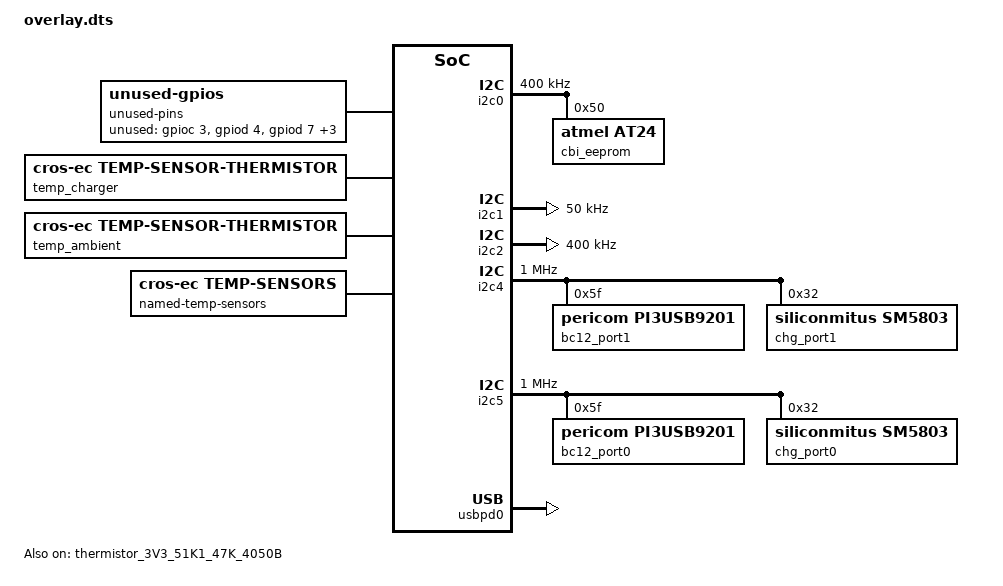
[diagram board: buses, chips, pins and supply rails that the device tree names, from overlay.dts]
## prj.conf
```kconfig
# Copyright 2021 The ChromiumOS Authors
# Use of this source code is governed by a BSD-style license that can be
# found in the LICENSE file.

# EC chip configuration: IT83102
CONFIG_BOARD_NEREID=y
CONFIG_CROS_FLASH_IT8XXX2=y
CONFIG_CROS_SYSTEM_IT8XXX2=y
CONFIG_ESPI_IT8XXX2=y
CONFIG_FPU=y
# rv32iafc/ilp32f is not supported by the toolchain, so use soft-float
CONFIG_FLOAT_HARD=n

# Allow more time for the charger to stabilise
CONFIG_PLATFORM_EC_POWER_BUTTON_INIT_TIMEOUT=5

# RAM savings, since this chip is tight on available RAM.
# It's useful to store a lot of logs for the host to request, but the default 4k
# is pretty large.
CONFIG_PLATFORM_EC_HOSTCMD_CONSOLE_BUF_SIZE=2048
# Our threads have short names, save 20 bytes per thread
CONFIG_THREAD_MAX_NAME_LEN=12
# Task stacks, tuned by experiment. Most expanded to prevent overflow, and a few
# shrunk to save RAM.
CONFIG_AP_PWRSEQ_STACK_SIZE=1408
CONFIG_TASK_HOSTCMD_STACK_SIZE=1280
CONFIG_TASK_MOTIONSENSE_STACK_SIZE=1280
CONFIG_TASK_PD_INT_STACK_SIZE=1280

# Ensure recovery key combination (esc+refresh+power) is reliable: b/236580049
CONFIG_PLATFORM_EC_KEYBOARD_PWRBTN_ASSERTS_KSI2=y

# Sensor drivers
CONFIG_PLATFORM_EC_ACCELGYRO_BMI_COMM_I2C=y
CONFIG_PLATFORM_EC_ACCELGYRO_BMI3XX=y
CONFIG_PLATFORM_EC_ACCEL_BMA4XX=y
CONFIG_PLATFORM_EC_MAX_SENSOR_FREQ_MILLIHZ=100000

# TCPC+PPC: ITE on-chip for C0, PS8745 for optional C1
CONFIG_PLATFORM_EC_USB_PD_TCPM_ITE_ON_CHIP=y
CONFIG_PLATFORM_EC_USB_PD_TCPM_DRIVER_IT8XXX2=y
CONFIG_PLATFORM_EC_USB_PD_TCPM_PS8745=y
CONFIG_PLATFORM_EC_USB_PD_VBUS_DETECT_CHARGER=y
# SM5803 controls power path on both ports
CONFIG_PLATFORM_EC_USB_PD_5V_CHARGER_CTRL=y
# SM5803 can discharge VBUS, but not via one of the available options;
# pd_power_supply_reset() does discharge.
CONFIG_PLATFORM_EC_USB_PD_DISCHARGE=n
# The EC is put into programming mode while firmware is running
# (after releasing reset) and PD after being reset will hard-reset
# the port if a contract was already set up. If the system has no
# battery, this will prevent programming because it will brown out
# the system and reset. Inserting a delay gives the programmer more
# time to put the EC into programming mode.
CONFIG_PLATFORM_EC_USB_PD_STARTUP_DELAY_MS=2000

# Charger driver and configuration
CONFIG_PLATFORM_EC_OCPC=y
CONFIG_PLATFORM_EC_CHARGER_SM5803=y
CONFIG_PLATFORM_EC_OCPC_DEF_RBATT_MOHMS=21
CONFIG_PLATFORM_EC_PD_MAX_VOLTAGE_MV=15000

# VSENSE: PP3300_S5 & PP1050_PROC
CONFIG_VCMP_IT8XXX2=y
CONFIG_SENSOR=y
CONFIG_SENSOR_SHELL=n
CONFIG_TACH_IT8XXX2=n
```

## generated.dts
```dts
/* Copyright 2022 The Chromium OS Authors. All rights reserved.
 * Use of this source code is governed by a BSD-style license that can be
 * found in the LICENSE file.
 *
 * This file is auto-generated - do not edit!
 */

/ {

	named-adc-channels {
		compatible = "named-adc-channels";

		adc_ec_vsense_pp1050_proc: ec_vsense_pp1050_proc {
			enum-name = "ADC_PP1050_PROC";
			io-channels = <&adc0 14>;
		};
		adc_ec_vsense_pp3300_s5: ec_vsense_pp3300_s5 {
			enum-name = "ADC_PP3300_S5";
			io-channels = <&adc0 0>;
		};
		adc_temp_sensor_1: temp_sensor_1 {
			enum-name = "ADC_TEMP_SENSOR_1";
			io-channels = <&adc0 2>;
		};
		adc_temp_sensor_2: temp_sensor_2 {
			enum-name = "ADC_TEMP_SENSOR_2";
			io-channels = <&adc0 3>;
		};
		adc_temp_sensor_3: temp_sensor_3 {
			enum-name = "ADC_TEMP_SENSOR_3";
			io-channels = <&adc0 13>;
		};
	};

	named-gpios {
		compatible = "named-gpios";

		gpio_acc_int_l: acc_int_l {
			gpios = <&gpioc 0 GPIO_INPUT>;
		};
		gpio_all_sys_pwrgd: all_sys_pwrgd {
			gpios = <&gpiob 7 GPIO_INPUT>;
		};
		gpio_ccd_mode_odl: ccd_mode_odl {
			gpios = <&gpioh 5 GPIO_INPUT>;
			enum-name = "GPIO_CCD_MODE_ODL";
		};
		gpio_cpu_c10_gate_l: cpu_c10_gate_l {
			gpios = <&gpiog 1 GPIO_INPUT>;
		};
		gpio_ec_battery_pres_odl: ec_battery_pres_odl {
			gpios = <&gpioi 4 GPIO_INPUT>;
			enum-name = "GPIO_BATT_PRES_ODL";
		};
		gpio_ec_cbi_wp: ec_cbi_wp {
			gpios = <&gpioj 5 GPIO_OUTPUT>;
		};
		gpio_ec_edp_bl_en_od: ec_edp_bl_en_od {
			gpios = <&gpiok 4 GPIO_ODR_HIGH>;
			enum-name = "GPIO_ENABLE_BACKLIGHT";
		};
		gpio_ec_entering_rw: ec_entering_rw {
			gpios = <&gpioc 7 GPIO_OUTPUT>;
			enum-name = "GPIO_ENTERING_RW";
		};
		gpio_ec_gsc_packet_mode: ec_gsc_packet_mode {
			gpios = <&gpioh 1 GPIO_OUTPUT>;
			enum-name = "GPIO_PACKET_MODE_EN";
		};
		gpio_ec_pch_wake_odl: ec_pch_wake_odl {
			gpios = <&gpiob 2 GPIO_ODR_LOW>;
		};
		gpio_ec_prochot_odl: ec_prochot_odl {
			gpios = <&gpioi 1 GPIO_ODR_HIGH>;
		};
		gpio_ec_soc_dsw_pwrok: ec_soc_dsw_pwrok {
			gpios = <&gpiol 7 GPIO_OUTPUT>;
		};
		gpio_ec_soc_hdmi_hpd: ec_soc_hdmi_hpd {
			gpios = <&gpiok 7 GPIO_OUTPUT>;
		};
		gpio_ec_soc_int_odl: ec_soc_int_odl {
			gpios = <&gpiod 5 GPIO_ODR_HIGH>;
			enum-name = "GPIO_EC_INT_L";
		};
		gpio_ec_soc_pch_pwrok_od: ec_soc_pch_pwrok_od {
			gpios = <&gpiod 6 GPIO_ODR_HIGH>;
		};
		gpio_ec_soc_pwr_btn_odl: ec_soc_pwr_btn_odl {
			gpios = <&gpiob 6 GPIO_ODR_HIGH>;
			enum-name = "GPIO_PCH_PWRBTN_L";
		};
		gpio_ec_soc_rsmrst_l: ec_soc_rsmrst_l {
			gpios = <&gpioh 0 GPIO_OUTPUT>;
		};
		gpio_ec_soc_rtcrst: ec_soc_rtcrst {
			gpios = <&gpiok 2 GPIO_OUTPUT>;
		};
		gpio_ec_soc_sys_pwrok: ec_soc_sys_pwrok {
			gpios = <&gpiof 2 GPIO_OUTPUT>;
		};
		gpio_ec_soc_vccst_pwrgd_od: ec_soc_vccst_pwrgd_od {
			gpios = <&gpioe 5 GPIO_ODR_HIGH>;
		};
		gpio_ec_wp_odl: ec_wp_odl {
			gpios = <&gpioa 6 (GPIO_INPUT | GPIO_ACTIVE_LOW)>;
		};
		gpio_en_kb_bl: en_kb_bl {
			gpios = <&gpioj 3 GPIO_OUTPUT>;
			enum-name = "GPIO_EN_KEYBOARD_BACKLIGHT";
		};
		gpio_en_pp3300_s5: en_pp3300_s5 {
			gpios = <&gpioc 5 GPIO_OUTPUT>;
			enum-name = "GPIO_TEMP_SENSOR_POWER";
		};
		gpio_en_pp5000_pen_x: en_pp5000_pen_x {
			gpios = <&gpiob 5 GPIO_OUTPUT>;
		};
		gpio_en_pp5000_s5: en_pp5000_s5 {
			gpios = <&gpiok 5 GPIO_OUTPUT>;
		};
		gpio_en_slp_z: en_slp_z {
			gpios = <&gpiok 3 GPIO_OUTPUT>;
		};
		gpio_en_usb_a0_vbus: en_usb_a0_vbus {
			gpios = <&gpiol 6 GPIO_OUTPUT>;
		};
		gpio_en_usb_c0_cc1_vconn: en_usb_c0_cc1_vconn {
			gpios = <&gpioh 4 GPIO_OUTPUT>;
		};
		gpio_en_usb_c0_cc2_vconn: en_usb_c0_cc2_vconn {
			gpios = <&gpioh 6 GPIO_OUTPUT>;
		};
		gpio_gsc_ec_pwr_btn_odl: gsc_ec_pwr_btn_odl {
			gpios = <&gpioe 2 GPIO_INPUT_PULL_UP>;
			enum-name = "GPIO_POWER_BUTTON_L";
		};
		gpio_hdmi_sel: hdmi_sel {
			gpios = <&gpioc 6 GPIO_OUTPUT>;
		};
		gpio_imu_int_l: imu_int_l {
			gpios = <&gpioj 0 GPIO_INPUT>;
		};
		gpio_imvp91_vrrdy_od: imvp91_vrrdy_od {
			gpios = <&gpioj 4 GPIO_INPUT>;
		};
		gpio_lid_open: lid_open {
			gpios = <&gpiof 3 GPIO_INPUT>;
			enum-name = "GPIO_LID_OPEN";
		};
		gpio_pen_detect_odl: pen_detect_odl {
			gpios = <&gpioj 1 GPIO_INPUT_PULL_UP>;
		};
		gpio_pg_pp1050_mem_s3_od: pg_pp1050_mem_s3_od {
			gpios = <&gpiod 3 GPIO_INPUT>;
		};
		gpio_pg_pp5000_s5_od: pg_pp5000_s5_od {
			gpios = <&gpioe 3 GPIO_INPUT>;
		};
		gpio_rsmrst_pwrgd_l: rsmrst_pwrgd_l {
			gpios = <&gpioe 1 GPIO_INPUT_PULL_UP>;
		};
		gpio_slp_s0_l: slp_s0_l {
			gpios = <&gpioe 4 GPIO_INPUT>;
		};
		gpio_slp_s3_l: slp_s3_l {
			gpios = <&gpioh 3 GPIO_INPUT>;
		};
		gpio_slp_s4_l: slp_s4_l {
			gpios = <&gpioi 5 GPIO_INPUT>;
		};
		gpio_slp_sus_l: slp_sus_l {
			gpios = <&gpiog 2 GPIO_INPUT>;
		};
		gpio_sub_usb_a1_ilimit_sdp: sub_usb_a1_ilimit_sdp {
			gpios = <&gpiof 1 GPIO_OUTPUT>;
			enum-name = "GPIO_USB2_ILIM_SEL";
		};
		gpio_sys_rst_odl: sys_rst_odl {
			gpios = <&gpiod 1 GPIO_ODR_HIGH>;
		};
		gpio_tablet_mode_l: tablet_mode_l {
			gpios = <&gpioa 7 GPIO_INPUT>;
			enum-name = "GPIO_TABLET_MODE_L";
		};
		gpio_usb_a0_ilimit_sdp: usb_a0_ilimit_sdp {
			gpios = <&gpiol 5 GPIO_OUTPUT>;
			enum-name = "GPIO_USB1_ILIM_SEL";
		};
		gpio_usb_c0_frs: usb_c0_frs {
			gpios = <&gpioc 4 GPIO_OUTPUT>;
		};
		gpio_usb_c0_int_odl: usb_c0_int_odl {
			gpios = <&gpiok 0 GPIO_INPUT_PULL_UP>;
		};
		gpio_vccin_aux_vid0: vccin_aux_vid0 {
			gpios = <&gpiod 0 GPIO_INPUT>;
		};
		gpio_vccin_aux_vid1: vccin_aux_vid1 {
			gpios = <&gpiok 1 GPIO_INPUT>;
		};
		gpio_voldn_btn_odl: voldn_btn_odl {
			gpios = <&gpioi 6 GPIO_INPUT_PULL_UP>;
			enum-name = "GPIO_VOLUME_DOWN_L";
		};
		gpio_volup_btn_odl: volup_btn_odl {
			gpios = <&gpioi 7 GPIO_INPUT_PULL_UP>;
			enum-name = "GPIO_VOLUME_UP_L";
		};
	};

	named-i2c-ports {
		compatible = "named-i2c-ports";

		i2c_ec_i2c_eeprom: ec_i2c_eeprom {
			i2c-port = <&i2c0>;
			enum-names = "I2C_PORT_EEPROM";
		};
		i2c_ec_i2c_batt: ec_i2c_batt {
			i2c-port = <&i2c1>;
			enum-names = "I2C_PORT_BATTERY";
		};
		i2c_ec_i2c_sensor: ec_i2c_sensor {
			i2c-port = <&i2c2>;
			enum-names = "I2C_PORT_SENSOR";
		};
		i2c_ec_i2c_sub_usb_c1: ec_i2c_sub_usb_c1 {
			i2c-port = <&i2c4>;
			enum-names = "I2C_PORT_USB_C1_TCPC";
		};
		i2c_ec_i2c_usb_c0: ec_i2c_usb_c0 {
			i2c-port = <&i2c5>;
			enum-names = "I2C_PORT_USB_C0_TCPC";
		};
	};
};

&adc0 {
	status = "okay";
};

&i2c0 {
	status = "okay";
};

&i2c1 {
	status = "okay";
};

&i2c2 {
	status = "okay";
};

&i2c4 {
	status = "okay";
};

&i2c5 {
	status = "okay";
};
```

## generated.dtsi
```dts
/* Copyright 2022 The ChromiumOS Authors
 * Use of this source code is governed by a BSD-style license that can be
 * found in the LICENSE file.
 *
 * This file is auto-generated - do not edit!
 */

/ {

	named-adc-channels {
		compatible = "named-adc-channels";

		adc_ec_vsense_pp1050_proc: ec_vsense_pp1050_proc {
			enum-name = "ADC_PP1050_PROC";
			io-channels = <&adc0 14>;
		};
		adc_ec_vsense_pp3300_s5: ec_vsense_pp3300_s5 {
			enum-name = "ADC_PP3300_S5";
			io-channels = <&adc0 0>;
		};
		adc_temp_sensor_1: temp_sensor_1 {
			enum-name = "ADC_TEMP_SENSOR_1";
			io-channels = <&adc0 2>;
		};
		adc_temp_sensor_2: temp_sensor_2 {
			enum-name = "ADC_TEMP_SENSOR_2";
			io-channels = <&adc0 3>;
		};
		adc_temp_sensor_3: temp_sensor_3 {
			enum-name = "ADC_TEMP_SENSOR_3";
			io-channels = <&adc0 13>;
		};
	};

	named-gpios {
		compatible = "named-gpios";

		gpio_acc_int_l: acc_int_l {
			gpios = <&gpioc 0 GPIO_INPUT>;
		};
		gpio_all_sys_pwrgd: all_sys_pwrgd {
			gpios = <&gpiob 7 GPIO_INPUT>;
		};
		gpio_ccd_mode_odl: ccd_mode_odl {
			gpios = <&gpioh 5 GPIO_INPUT>;
			enum-name = "GPIO_CCD_MODE_ODL";
		};
		gpio_cpu_c10_gate_l: cpu_c10_gate_l {
			gpios = <&gpiog 1 GPIO_INPUT>;
		};
		gpio_ec_battery_pres_odl: ec_battery_pres_odl {
			gpios = <&gpioi 4 GPIO_INPUT>;
			enum-name = "GPIO_BATT_PRES_ODL";
		};
		gpio_ec_cbi_wp: ec_cbi_wp {
			gpios = <&gpioj 5 GPIO_OUTPUT>;
		};
		gpio_ec_edp_bl_en_od: ec_edp_bl_en_od {
			gpios = <&gpiok 4 GPIO_ODR_HIGH>;
			enum-name = "GPIO_ENABLE_BACKLIGHT";
		};
		gpio_ec_entering_rw: ec_entering_rw {
			gpios = <&gpioc 7 GPIO_OUTPUT>;
			enum-name = "GPIO_ENTERING_RW";
		};
		gpio_ec_gsc_packet_mode: ec_gsc_packet_mode {
			gpios = <&gpioh 1 GPIO_OUTPUT>;
			enum-name = "GPIO_PACKET_MODE_EN";
		};
		gpio_ec_pch_wake_odl: ec_pch_wake_odl {
			gpios = <&gpiob 2 GPIO_ODR_LOW>;
		};
		gpio_ec_prochot_odl: ec_prochot_odl {
			gpios = <&gpioi 1 GPIO_ODR_HIGH>;
		};
		gpio_ec_soc_dsw_pwrok: ec_soc_dsw_pwrok {
			gpios = <&gpiol 7 GPIO_OUTPUT>;
		};
		gpio_ec_soc_hdmi_hpd: ec_soc_hdmi_hpd {
			gpios = <&gpiok 7 GPIO_OUTPUT>;
		};
		gpio_ec_soc_int_odl: ec_soc_int_odl {
			gpios = <&gpiod 5 GPIO_ODR_HIGH>;
			enum-name = "GPIO_EC_INT_L";
		};
		gpio_ec_soc_pch_pwrok_od: ec_soc_pch_pwrok_od {
			gpios = <&gpiod 6 GPIO_ODR_HIGH>;
		};
		gpio_ec_soc_pwr_btn_odl: ec_soc_pwr_btn_odl {
			gpios = <&gpiob 6 GPIO_ODR_HIGH>;
			enum-name = "GPIO_PCH_PWRBTN_L";
		};
		gpio_ec_soc_rsmrst_l: ec_soc_rsmrst_l {
			gpios = <&gpioh 0 GPIO_OUTPUT>;
		};
		gpio_ec_soc_rtcrst: ec_soc_rtcrst {
			gpios = <&gpiok 2 GPIO_OUTPUT>;
		};
		gpio_ec_soc_sys_pwrok: ec_soc_sys_pwrok {
			gpios = <&gpiof 2 GPIO_OUTPUT>;
		};
		gpio_ec_soc_vccst_pwrgd_od: ec_soc_vccst_pwrgd_od {
			gpios = <&gpioe 5 GPIO_ODR_HIGH>;
		};
		gpio_ec_wp_odl: ec_wp_odl {
			gpios = <&gpioa 6 (GPIO_INPUT | GPIO_ACTIVE_LOW)>;
		};
		gpio_en_kb_bl: en_kb_bl {
			gpios = <&gpioj 3 GPIO_OUTPUT>;
			enum-name = "GPIO_EN_KEYBOARD_BACKLIGHT";
		};
		gpio_en_pp3300_s5: en_pp3300_s5 {
			gpios = <&gpioc 5 GPIO_OUTPUT>;
			enum-name = "GPIO_TEMP_SENSOR_POWER";
		};
		gpio_en_pp5000_pen_x: en_pp5000_pen_x {
			gpios = <&gpiob 5 GPIO_OUTPUT>;
		};
		gpio_en_pp5000_s5: en_pp5000_s5 {
			gpios = <&gpiok 5 GPIO_OUTPUT>;
		};
		gpio_en_slp_z: en_slp_z {
			gpios = <&gpiok 3 GPIO_OUTPUT>;
		};
		gpio_en_usb_a0_vbus: en_usb_a0_vbus {
			gpios = <&gpiol 6 GPIO_OUTPUT>;
		};
		gpio_en_usb_c0_cc1_vconn: en_usb_c0_cc1_vconn {
			gpios = <&gpioh 4 GPIO_OUTPUT>;
		};
		gpio_en_usb_c0_cc2_vconn: en_usb_c0_cc2_vconn {
			gpios = <&gpioh 6 GPIO_OUTPUT>;
		};
		gpio_gsc_ec_pwr_btn_odl: gsc_ec_pwr_btn_odl {
			gpios = <&gpioe 2 GPIO_INPUT_PULL_UP>;
			enum-name = "GPIO_POWER_BUTTON_L";
		};
		gpio_hdmi_sel: hdmi_sel {
			gpios = <&gpioc 6 GPIO_OUTPUT>;
		};
		gpio_imu_int_l: imu_int_l {
			gpios = <&gpioj 0 GPIO_INPUT>;
		};
		gpio_imvp91_vrrdy_od: imvp91_vrrdy_od {
			gpios = <&gpioj 4 GPIO_INPUT>;
		};
		gpio_lid_open: lid_open {
			gpios = <&gpiof 3 GPIO_INPUT>;
			enum-name = "GPIO_LID_OPEN";
		};
		gpio_pen_detect_odl: pen_detect_odl {
			gpios = <&gpioj 1 GPIO_INPUT_PULL_UP>;
		};
		gpio_pg_pp1050_mem_s3_od: pg_pp1050_mem_s3_od {
			gpios = <&gpiod 3 GPIO_INPUT>;
		};
		gpio_pg_pp5000_s5_od: pg_pp5000_s5_od {
			gpios = <&gpioe 3 GPIO_INPUT>;
		};
		gpio_rsmrst_pwrgd_l: rsmrst_pwrgd_l {
			gpios = <&gpioe 1 GPIO_INPUT_PULL_UP>;
		};
		gpio_slp_s0_l: slp_s0_l {
			gpios = <&gpioe 4 GPIO_INPUT>;
		};
		gpio_slp_s3_l: slp_s3_l {
			gpios = <&gpioh 3 GPIO_INPUT>;
		};
		gpio_slp_s4_l: slp_s4_l {
			gpios = <&gpioi 5 GPIO_INPUT>;
		};
		gpio_slp_sus_l: slp_sus_l {
			gpios = <&gpiog 2 GPIO_INPUT>;
		};
		gpio_sub_usb_a1_ilimit_sdp: sub_usb_a1_ilimit_sdp {
			gpios = <&gpiof 1 GPIO_OUTPUT>;
			enum-name = "GPIO_USB2_ILIM_SEL";
		};
		gpio_sys_rst_odl: sys_rst_odl {
			gpios = <&gpiod 1 GPIO_ODR_HIGH>;
		};
		gpio_tablet_mode_l: tablet_mode_l {
			gpios = <&gpioa 7 GPIO_INPUT>;
			enum-name = "GPIO_TABLET_MODE_L";
		};
		gpio_usb_a0_ilimit_sdp: usb_a0_ilimit_sdp {
			gpios = <&gpiol 5 GPIO_OUTPUT>;
			enum-name = "GPIO_USB1_ILIM_SEL";
		};
		gpio_usb_c0_frs: usb_c0_frs {
			gpios = <&gpioc 4 GPIO_OUTPUT>;
		};
		gpio_usb_c0_int_odl: usb_c0_int_odl {
			gpios = <&gpiok 0 GPIO_INPUT_PULL_UP>;
		};
		gpio_vccin_aux_vid0: vccin_aux_vid0 {
			gpios = <&gpiod 0 GPIO_INPUT>;
		};
		gpio_vccin_aux_vid1: vccin_aux_vid1 {
			gpios = <&gpiok 1 GPIO_INPUT>;
		};
		gpio_voldn_btn_odl: voldn_btn_odl {
			gpios = <&gpioi 6 GPIO_INPUT_PULL_UP>;
			enum-name = "GPIO_VOLUME_DOWN_L";
		};
		gpio_volup_btn_odl: volup_btn_odl {
			gpios = <&gpioi 7 GPIO_INPUT_PULL_UP>;
			enum-name = "GPIO_VOLUME_UP_L";
		};
	};

	named-i2c-ports {
		compatible = "named-i2c-ports";

		i2c_ec_i2c_eeprom: ec_i2c_eeprom {
			i2c-port = <&i2c0>;
			enum-names = "I2C_PORT_EEPROM";
		};
		i2c_ec_i2c_batt: ec_i2c_batt {
			i2c-port = <&i2c1>;
			enum-names = "I2C_PORT_BATTERY";
		};
		i2c_ec_i2c_sensor: ec_i2c_sensor {
			i2c-port = <&i2c2>;
			enum-names = "I2C_PORT_SENSOR";
		};
		i2c_ec_i2c_sub_usb_c1: ec_i2c_sub_usb_c1 {
			i2c-port = <&i2c4>;
			enum-names = "I2C_PORT_USB_C1_TCPC";
		};
		i2c_ec_i2c_usb_c0: ec_i2c_usb_c0 {
			i2c-port = <&i2c5>;
			enum-names = "I2C_PORT_USB_C0_TCPC";
		};
	};
};

&adc0 {
	status = "okay";
};

&i2c0 {
	status = "okay";
};

&i2c1 {
	status = "okay";
};

&i2c2 {
	status = "okay";
};

&i2c4 {
	status = "okay";
};

&i2c5 {
	status = "okay";
};
```

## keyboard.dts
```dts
/* Copyright 2022 The ChromiumOS Authors
 * Use of this source code is governed by a BSD-style license that can be
 * found in the LICENSE file.
 */

/ {
	kblight {
		compatible = "cros-ec,kblight-pwm";
		pwms = <&pwm0 0 PWM_KHZ(10) PWM_POLARITY_NORMAL>;
	};
};

&pwm0 {
	status = "okay";
	prescaler-cx = <PWM_PRESCALER_C4>;
	pinctrl-0 = <&pwm0_gpa0_default>;
	pinctrl-names = "default";
};
```

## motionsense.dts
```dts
/* Copyright 2022 The ChromiumOS Authors
 * Use of this source code is governed by a BSD-style license that can be
 * found in the LICENSE file.
 */

#include <dt-bindings/motionsense/utils.h>


/ {
	aliases {
		/*
		 * Interrupt bindings for sensor devices.
		 */
		bmi3xx-int = &base_accel;
	};

	/*
	 * Declare mutexes used by sensor drivers.
	 * A mutex node is used to create an instance of mutex_t.
	 * A mutex node is referenced by a sensor node if the
	 * corresponding sensor driver needs to use the
	 * instance of the mutex.
	 */
	motionsense-mutex {
		compatible = "cros-ec,motionsense-mutex";
		lid_mutex: lid-mutex {
		};

		base_mutex: base-mutex {
		};
	};

	/* Rotation matrix used by drivers. */
	motionsense-rotation-ref {
		compatible = "cros-ec,motionsense-rotation-ref";
		lid_rot_ref: lid-rotation-ref {
			mat33 = <0 (-1) 0
				 (-1) 0 0
				 0 0 (-1)>;
		};

		base_rot_ref: base-rotation-ref {
			mat33 = <0 1 0
				 (-1) 0 0
				 0 0 1>;
		};
	};

	/*
	 * Driver specific data. A driver-specific data can be shared with
	 * different motion sensors while they are using the same driver.
	 *
	 * If a node's compatible starts with "cros-ec,accelgyro-", it is for
	 * a common structure defined in accelgyro.h.
	 * e.g) compatible = "cros-ec,accelgyro-als-drv-data" is for
	 * "struct als_drv_data_t" in accelgyro.h
	 */
	motionsense-sensor-data {
		bmi323_data: bmi323-drv-data {
			compatible = "cros-ec,drvdata-bmi3xx";
			status = "okay";
		};

		bma422_data: bma422-drv-data {
			compatible = "cros-ec,drvdata-bma4xx";
			status = "okay";
		};
	};

	/*
	 * List of motion sensors that creates motion_sensors array.
	 * The nodelabel "lid_accel" and "base_accel" are used to indicate
	 * motion sensor IDs for lid angle calculation.
	 * TODO(b/238139272): The first entries of the array must be
	 * accelerometers,then gyroscope. Fix this dependency in the DTS
	 * processing which makes the devicetree entries independent.
	 */
	motionsense-sensor {
		lid_accel: lid-accel {
			compatible = "cros-ec,bma4xx";
			status = "okay";

			active-mask = "SENSOR_ACTIVE_S0_S3";
			location = "MOTIONSENSE_LOC_LID";
			mutex = <&lid_mutex>;
			port = <&i2c_ec_i2c_sensor>;
			rot-standard-ref = <&lid_rot_ref>;
			default-range = <2>;
			drv-data = <&bma422_data>;
			configs {
				compatible =
					"cros-ec,motionsense-sensor-config";
				ec-s0 {
					odr = <(10000 | ROUND_UP_FLAG)>;
				};
				ec-s3 {
					odr = <(10000 | ROUND_UP_FLAG)>;
				};
			};
		};

		base_accel: base-accel {
			compatible = "cros-ec,bmi3xx-accel";
			status = "okay";

			active-mask = "SENSOR_ACTIVE_S0_S3";
			location = "MOTIONSENSE_LOC_BASE";
			mutex = <&base_mutex>;
			port = <&i2c_ec_i2c_sensor>;
			rot-standard-ref = <&base_rot_ref>;
			drv-data = <&bmi323_data>;
			configs {
				compatible =
					"cros-ec,motionsense-sensor-config";
				ec-s0 {
					odr = <(10000 | ROUND_UP_FLAG)>;
				};
				ec-s3 {
					odr = <(10000 | ROUND_UP_FLAG)>;
				};
			};
		};

		base_gyro: base-gyro {
			compatible = "cros-ec,bmi3xx-gyro";
			status = "okay";

			active-mask = "SENSOR_ACTIVE_S0_S3";
			location = "MOTIONSENSE_LOC_BASE";
			mutex = <&base_mutex>;
			port = <&i2c_ec_i2c_sensor>;
			rot-standard-ref = <&base_rot_ref>;
			drv-data = <&bmi323_data>;
		};
	};

	motionsense-sensor-info {
		compatible = "cros-ec,motionsense-sensor-info";

		/*
		 * list of GPIO interrupts that have to
		 * be enabled at initial stage
		 */
		sensor-irqs = <&int_imu>;
		/* list of sensors in force mode */
		accel-force-mode-sensors = <&lid_accel>;
	};
};
```

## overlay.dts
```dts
/* Copyright 2021 The ChromiumOS Authors
 * Use of this source code is governed by a BSD-style license that can be
 * found in the LICENSE file.
 */

#include <cros/thermistor/thermistor.dtsi>

/ {
	aliases {
		gpio-cbi-wp = &gpio_ec_cbi_wp;
		gpio-wp = &gpio_ec_wp_odl;
		int-wp = &int_wp_l;
		/*
		 * USB-C: interrupt input.
		 * I2C pins are on i2c_ec_i2c_sub_usb_c1
		 */
		gpio-usb-c1-int-odl = &gpio_sb_1;
		/*
		 * USB-A: VBUS enable output
		 * LTE: power enable output
		 */
		gpio-en-usb-a1-vbus = &gpio_sb_2;
		/*
		 * HDMI: power enable output, HDMI enable output,
		 * and HPD input
		 */
		gpio-en-rails-odl = &gpio_sb_1;
		gpio-hdmi-en-odl = &gpio_sb_4;
		gpio-hpd-odl = &gpio_sb_3;
		/*
		 * Enable S5 rails for LTE sub-board
		 */
		gpio-en-sub-s5-rails = &gpio_sb_2;
	};


	ec-console {
		compatible = "ec-console";
		disabled = "events", "lpc", "hostcmd";
	};

	batteries {
		default_battery: smp {
			compatible = "smp,l20m3pg0", "battery-smart";
		};
	};

	hibernate-wake-pins {
		compatible = "cros-ec,hibernate-wake-pins";
		wakeup-irqs = <
			&int_power_button
			&int_lid_open
		>;
	};

	gpio-interrupts {
		compatible = "cros-ec,gpio-interrupts";

		int_power_button: power_button {
			irq-pin = <&gpio_gsc_ec_pwr_btn_odl>;
			flags = <GPIO_INT_EDGE_BOTH>;
			handler = "power_button_interrupt";
		};
		int_vol_down: vol_down {
			irq-pin = <&gpio_voldn_btn_odl>;
			flags = <GPIO_INT_EDGE_BOTH>;
			handler = "button_interrupt";
		};
		int_vol_up: vol_up {
			irq-pin = <&gpio_volup_btn_odl>;
			flags = <GPIO_INT_EDGE_BOTH>;
			handler = "button_interrupt";
		};
		int_wp_l: wp_l {
			irq-pin = <&gpio_ec_wp_odl>;
			flags = <GPIO_INT_EDGE_BOTH>;
			handler = "switch_interrupt";
		};
		int_lid_open: lid_open {
			irq-pin = <&gpio_lid_open>;
			flags = <GPIO_INT_EDGE_BOTH>;
			handler = "lid_interrupt";
		};
		int_tablet_mode: tablet_mode {
			irq-pin = <&gpio_tablet_mode_l>;
			flags = <GPIO_INT_EDGE_BOTH>;
			handler = "gmr_tablet_switch_isr";
		};
		int_imu: ec_imu {
		  irq-pin = <&gpio_imu_int_l>;
		  flags = <GPIO_INT_EDGE_FALLING>;
		  handler = "bmi3xx_interrupt";
		};
		int_usb_c0: usb_c0 {
			irq-pin = <&gpio_usb_c0_int_odl>;
			flags = <GPIO_INT_EDGE_FALLING>;
			handler = "usb_c0_interrupt";
		};
		int_usb_c1: usb_c1 {
			irq-pin = <&gpio_sb_1>;
			flags = <GPIO_INT_EDGE_FALLING>;
			handler = "usb_c1_interrupt";
		};
	};

	unused-pins {
		compatible = "unused-gpios";
		unused-gpios = <&gpioc 3 0>,
			       <&gpiod 4 0>,
			       <&gpiod 7 0>,
			       <&gpioh 2 0>,
			       <&gpioj 7 0>,
			       <&gpiol 4 0>;
	};

	named-gpios {
		/*
		 * EC doesn't take any specific action on CC/SBU disconnect due to
		 * fault, but this definition is useful for hardware testing.
		 */
		gpio_usb_c0_prot_fault_odl: usb_c0_prot_fault_odl {
			gpios = <&gpiok 6 GPIO_INPUT_PULL_UP>;
		};

		gpio_sb_1: sb_1 {
			gpios = <&gpioe 6 0>;
			no-auto-init;
		};
		gpio_sb_2: sb_2 {
			gpios = <&gpiof 0 0>;
			no-auto-init;
		};

		gpio_sb_3: sb_3 {
			gpios = <&gpioe 7 0>;
			no-auto-init;
		};
		gpio_sb_4: sb_4 {
			gpios = <&gpioe 0 0>;
			no-auto-init;
		};
	};

	temp_memory: memory {
		compatible = "cros-ec,temp-sensor-thermistor";
		thermistor = <&thermistor_3V3_51K1_47K_4050B>;
		adc = <&adc_temp_sensor_1>;
	};
	temp_charger: charger {
		compatible = "cros-ec,temp-sensor-thermistor";
		thermistor = <&thermistor_3V3_51K1_47K_4050B>;
		adc = <&adc_temp_sensor_2>;
	};
	temp_ambient: ambient {
		compatible = "cros-ec,temp-sensor-thermistor";
		thermistor = <&thermistor_3V3_51K1_47K_4050B>;
		adc = <&adc_temp_sensor_3>;
	};

	named-temp-sensors {
		compatible = "cros-ec,temp-sensors";
		memory {
			temp_fan_off = <35>;
			temp_fan_max = <60>;
			temp_host_high = <85>;
			temp_host_halt = <90>;
			temp_host_release_high = <80>;
			power-good-pin = <&gpio_ec_soc_dsw_pwrok>;
			sensor = <&temp_memory>;
		};
		charger {
			temp_fan_off = <35>;
			temp_fan_max = <60>;
			temp_host_high = <85>;
			temp_host_halt = <90>;
			temp_host_release_high = <80>;
			power-good-pin = <&gpio_ec_soc_dsw_pwrok>;
			sensor = <&temp_charger>;
		};
		ambient {
			temp_fan_off = <35>;
			temp_fan_max = <60>;
			temp_host_high = <85>;
			temp_host_halt = <90>;
			temp_host_release_high = <80>;
			power-good-pin = <&gpio_ec_soc_dsw_pwrok>;
			sensor = <&temp_ambient>;
		};
	};

	usba {
		compatible = "cros-ec,usba-port-enable-pins";
		/*
		 * sb_2 is only configured as GPIO when USB-A1 is present,
		 * but it's still safe to control when disabled.
		 *
		 * ILIM_SEL pins are referred to by legacy enum name,
		 * GPIO_USB*_ILIM_SEL. The one for port A1 is unused on
		 * sub-boards that don't have USB-A so is safe to control
		 * regardless of system configuration.
		 */
		enable-pins = <&gpio_en_usb_a0_vbus &gpio_sb_2>;
		status = "okay";
	};

	usbc {
		#address-cells = <1>;
		#size-cells = <0>;

		port0@0 {
			compatible = "named-usbc-port";
			reg = <0>;
			bc12 = <&bc12_port0>;
			chg = <&chg_port0>;
			usb-mux-chain-0 {
				compatible = "cros-ec,usb-mux-chain";
				usb-muxes = <&virtual_mux_0>;
			};
		};
		port0-muxes {
			virtual_mux_0: virtual-mux-0 {
				compatible = "cros-ec,usbc-mux-virtual";
			};
		};
		port1@1 {
			compatible = "named-usbc-port";
			reg = <1>;
			bc12 = <&bc12_port1>;
			chg = <&chg_port1>;
			usb-mux-chain-1 {
				compatible = "cros-ec,usb-mux-chain";
				usb-muxes = <&virtual_mux_1 &tcpci_mux_1>;
			};
			usb_mux_chain_1_no_mux: usb-mux-chain-1-no-mux {
				compatible = "cros-ec,usb-mux-chain";
				alternative-chain;
				usb-muxes = <&virtual_mux_1>;
			};
		};
		port1-muxes {
			virtual_mux_1: virtual-mux-1 {
				compatible = "cros-ec,usbc-mux-virtual";
			};
			tcpci_mux_1: tcpci-mux-1 {
				compatible = "parade,usbc-mux-ps8xxx";
			};
		};
	};
};

&gpio_acc_int_l {
	gpios = <&gpioc 0 (GPIO_INPUT | GPIO_VOLTAGE_1P8)>;
};
&gpio_imu_int_l {
	gpios = <&gpioj 0 (GPIO_INPUT | GPIO_VOLTAGE_1P8)>;
};
&gpio_vccin_aux_vid0 {
	gpios = <&gpiod 0 (GPIO_INPUT | GPIO_VOLTAGE_1P8)>;
};
&gpio_vccin_aux_vid1 {
	gpios = <&gpiok 1 (GPIO_INPUT | GPIO_VOLTAGE_1P8)>;
};

&gpio_ec_prochot_odl {
	gpios = <&gpioi 1 (GPIO_ODR_HIGH | GPIO_VOLTAGE_1P8)>;
};

&thermistor_3V3_51K1_47K_4050B {
	status = "okay";
};

&adc_ec_vsense_pp3300_s5 {
	/*
	 * Voltage divider on input has 47k upper and 220k lower legs with 3 V
	 * full-scale reading on the ADC. Apply the largest possible multiplier
	 * (without overflowing int32) to get the best possible approximation
	 * of the actual ratio, but derate by a factor of two to ensure
	 * unexpectedly high values won't overflow.
	 */
	mul = <(715828 / 2)>;
	div = <(589820 / 2)>;
};

&adc0 {
	pinctrl-0 = <&adc0_ch0_gpi0_default
		     &adc0_ch2_gpi2_default
		     &adc0_ch3_gpi3_default
		     &adc0_ch13_gpl0_default
		     &adc0_ch14_gpl1_default>;
	pinctrl-names = "default";
};

&pinctrl {
	i2c4_clk_gpe0_sleep: i2c4_clk_gpe0_sleep {
		pinmuxs = <&pinctrle 0 IT8XXX2_ALT_DEFAULT>;
	};
	i2c4_data_gpe7_sleep: i2c4_data_gpe7_sleep {
		pinmuxs = <&pinctrle 7 IT8XXX2_ALT_DEFAULT>;
	};
	i2c2_clk_gpf6_default: i2c2_clk_gpf6_default {
		gpio-voltage = "1v8";
	};
	i2c2_data_gpf7_default: i2c2_data_gpf7_default {
		gpio-voltage = "1v8";
	};
};

&i2c0 {
	label = "I2C_EEPROM";
	clock-frequency = <I2C_BITRATE_FAST>;

	cbi_eeprom: eeprom@50 {
		compatible = "atmel,at24";
		reg = <0x50>;
		size = <2048>;
		pagesize = <16>;
		address-width = <8>;
		timeout = <5>;
	};
	pinctrl-0 = <&i2c0_clk_gpb3_default
		     &i2c0_data_gpb4_default>;
	pinctrl-names = "default";
};

&i2c1 {
	label = "I2C_BATTERY";
	clock-frequency = <50000>;
	pinctrl-0 = <&i2c1_clk_gpc1_default
		     &i2c1_data_gpc2_default>;
	pinctrl-names = "default";
};

&i2c2 {
	label = "I2C_SENSOR";
	clock-frequency = <I2C_BITRATE_FAST>;
	pinctrl-0 = <&i2c2_clk_gpf6_default
		     &i2c2_data_gpf7_default>;
	pinctrl-names = "default";
};

&i2c4 {
	label = "I2C_SUB_C1_TCPC";
	clock-frequency = <I2C_BITRATE_FAST_PLUS>;
	pinctrl-0 = <&i2c4_clk_gpe0_default
		     &i2c4_data_gpe7_default>;
	pinctrl-1 = <&i2c4_clk_gpe0_sleep
		     &i2c4_data_gpe7_sleep>;
	pinctrl-names = "default", "sleep";

	bc12_port1: pi3usb9201@5f {
		compatible = "pericom,pi3usb9201";
		status = "okay";
		reg = <0x5f>;
	};

	chg_port1: sm5803@32 {
		compatible = "siliconmitus,sm5803";
		status = "okay";
		reg = <0x32>;
	};
};

&i2c_ec_i2c_sub_usb_c1 {
	/*
	 * Dynamic speed setting is used for AP-controlled firmware update
	 * of PS8745 TCPC/redriver: the AP lowers speed to 400 kHz in order
	 * to use more efficient window programming, then sets it back when
	 * done.
	 */
	dynamic-speed;
};

&i2c5 {
	label = "I2C_USB_C0_TCPC";
	clock-frequency = <I2C_BITRATE_FAST_PLUS>;
	pinctrl-0 = <&i2c5_clk_gpa4_default
		     &i2c5_data_gpa5_default>;
	pinctrl-names = "default";

	bc12_port0: pi3usb9201@5f {
		compatible = "pericom,pi3usb9201";
		status = "okay";
		reg = <0x5f>;
	};

	chg_port0: sm5803@32 {
		compatible = "siliconmitus,sm5803";
		status = "okay";
		reg = <0x32>;
	};
};

&usbpd0 {
	status = "okay";
};
```

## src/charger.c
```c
/* Copyright 2022 The ChromiumOS Authors
 * Use of this source code is governed by a BSD-style license that can be
 * found in the LICENSE file.
 */

#include <zephyr/logging/log.h>

#include "battery.h"
#include "charger.h"
#include "console.h"
#include "driver/charger/sm5803.h"
#include "extpower.h"
#include "usb_pd.h"
#include "nissa_common.h"

LOG_MODULE_DECLARE(nissa, CONFIG_NISSA_LOG_LEVEL);

int extpower_is_present(void)
{
	int port;
	int rv;
	bool acok;

	for (port = 0; port < board_get_usb_pd_port_count(); port++) {
		rv = sm5803_is_acok(port, &acok);
		if ((rv == EC_SUCCESS) && acok)
			return 1;
	}

	return 0;
}

/*
 * Nereid does not have a GPIO indicating whether extpower is present,
 * so detect using the charger(s).
 */
__override void board_check_extpower(void)
{
	static int last_extpower_present;
	int extpower_present = extpower_is_present();

	if (last_extpower_present ^ extpower_present)
		extpower_handle_update(extpower_present);

	last_extpower_present = extpower_present;
}

__override void board_hibernate(void)
{
	/* Shut down the chargers */
	if (board_get_usb_pd_port_count() == 2)
		sm5803_hibernate(CHARGER_SECONDARY);
	sm5803_hibernate(CHARGER_PRIMARY);
	LOG_INF("Charger(s) hibernated");
	cflush();
}
```

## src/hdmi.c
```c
/* Copyright 2022 The ChromiumOS Authors
 * Use of this source code is governed by a BSD-style license that can be
 * found in the LICENSE file.
 */

#include <cros_board_info.h>
#include "nissa_hdmi.h"

__override void nissa_configure_hdmi_power_gpios(void)
{
	/*
	 * Nereid versions before 2 need hdmi-en-odl to be
	 * pulled down to enable VCC on the HDMI port, but later
	 * versions (and other boards) disconnect this so
	 * the port's VCC directly follows en-rails-odl. Only
	 * configure the GPIO if needed, to save power.
	 */
	uint32_t board_version = 0;

	/* CBI errors ignored, will configure the pin */
	cbi_get_board_version(&board_version);
	if (board_version < 2) {
		nissa_configure_hdmi_vcc();
	}

	/* Still always need core rails controlled */
	nissa_configure_hdmi_rails();
}
```

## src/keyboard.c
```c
/* Copyright 2022 The Chromium OS Authors. All rights reserved.
 * Use of this source code is governed by a BSD-style license that can be
 * found in the LICENSE file.
 */

#include "ec_commands.h"

static const struct ec_response_keybd_config nereid_kb_legacy = {
	.num_top_row_keys = 10,
	.action_keys = {
		TK_BACK,		/* T1 */
		TK_FORWARD,		/* T2 */
		TK_REFRESH,		/* T3 */
		TK_FULLSCREEN,		/* T4 */
		TK_OVERVIEW,		/* T5 */
		TK_BRIGHTNESS_DOWN,	/* T6 */
		TK_BRIGHTNESS_UP,	/* T7 */
		TK_VOL_MUTE,		/* T8 */
		TK_VOL_DOWN,		/* T9 */
		TK_VOL_UP,		/* T10 */
	},
	.capabilities = KEYBD_CAP_SCRNLOCK_KEY,
};

__override const struct ec_response_keybd_config *
board_vivaldi_keybd_config(void)
{
	return &nereid_kb_legacy;
}
```

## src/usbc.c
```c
/* Copyright 2022 The Chromium OS Authors. All rights reserved.
 * Use of this source code is governed by a BSD-style license that can be
 * found in the LICENSE file.
 */

#include <zephyr/logging/log.h>
#include <ap_power/ap_power.h>

#include "charge_state_v2.h"
#include "chipset.h"
#include "hooks.h"
#include "usb_mux.h"
#include "system.h"
#include "driver/charger/sm5803.h"
#include "driver/tcpm/it83xx_pd.h"
#include "driver/tcpm/ps8xxx_public.h"
#include "driver/tcpm/tcpci.h"

#include "nissa_common.h"

LOG_MODULE_DECLARE(nissa, CONFIG_NISSA_LOG_LEVEL);

struct tcpc_config_t tcpc_config[CONFIG_USB_PD_PORT_MAX_COUNT] = {
	{
		.bus_type = EC_BUS_TYPE_EMBEDDED,
		/* TCPC is embedded within EC so no i2c config needed */
		.drv = &it8xxx2_tcpm_drv,
		/* Alert is active-low, push-pull */
		.flags = 0,
	},
	{
		/*
		 * Sub-board: optional PS8745 TCPC+redriver. Behaves the same
		 * as PS8815.
		 */
		.bus_type = EC_BUS_TYPE_I2C,
		.i2c_info = {
			.port = I2C_PORT_USB_C1_TCPC,
			.addr_flags = PS8XXX_I2C_ADDR1_FLAGS,
		},
		.drv = &ps8xxx_tcpm_drv,
		/* PS8745 implements TCPCI 2.0 */
		.flags = TCPC_FLAGS_TCPCI_REV2_0,
	},
};

/* Vconn control for integrated ITE TCPC */
void board_pd_vconn_ctrl(int port, enum usbpd_cc_pin cc_pin, int enabled)
{
	/* Vconn control is only for port 0 */
	if (port)
		return;

	if (cc_pin == USBPD_CC_PIN_1)
		gpio_pin_set_dt(
			GPIO_DT_FROM_NODELABEL(gpio_en_usb_c0_cc1_vconn),
			!!enabled);
	else
		gpio_pin_set_dt(
			GPIO_DT_FROM_NODELABEL(gpio_en_usb_c0_cc2_vconn),
			!!enabled);
}

__override bool pd_check_vbus_level(int port, enum vbus_level level)
{
	return sm5803_check_vbus_level(port, level);
}

/*
 * Putting chargers into LPM when in suspend reduces power draw by about 8mW
 * per charger, but also seems critical to correct operation in source mode:
 * if chargers are not in LPM when a sink is first connected, VBUS sourcing
 * works even if the partner is later removed (causing LPM entry) and
 * reconnected (causing LPM exit). If in LPM initially, sourcing VBUS
 * consistently causes the charger to report (apparently spurious) overcurrent
 * failures.
 *
 * In short, this is important to making things work correctly but we don't
 * understand why.
 */
static void board_chargers_suspend(struct ap_power_ev_callback *const cb,
				   const struct ap_power_ev_data data)
{
	void (*fn)(int chgnum);

	switch (data.event) {
	case AP_POWER_SUSPEND:
		fn = sm5803_enable_low_power_mode;
		break;
	case AP_POWER_RESUME:
		fn = sm5803_disable_low_power_mode;
		break;
	default:
		LOG_WRN("%s: power event %d is not recognized", __func__,
			data.event);
		return;
	}

	fn(CHARGER_PRIMARY);
	if (board_get_charger_chip_count() > 1)
		fn(CHARGER_SECONDARY);
}

static int board_chargers_suspend_init(const struct device *unused)
{
	static struct ap_power_ev_callback cb = {
		.handler = board_chargers_suspend,
		.events = AP_POWER_SUSPEND | AP_POWER_RESUME,
	};
	ap_power_ev_add_callback(&cb);
	return 0;
}
SYS_INIT(board_chargers_suspend_init, APPLICATION, 0);

int board_set_active_charge_port(int port)
{
	int is_real_port = (port >= 0 && port < board_get_usb_pd_port_count());
	int i;
	int old_port;
	int rv;

	if (!is_real_port && port != CHARGE_PORT_NONE)
		return EC_ERROR_INVAL;

	old_port = charge_manager_get_active_charge_port();
	LOG_INF("Charge update: p%d -> p%d", old_port, port);

	/* Check if port is sourcing VBUS. */
	if (port != CHARGE_PORT_NONE && charger_is_sourcing_otg_power(port)) {
		LOG_WRN("Skip enable p%d: already sourcing", port);
		return EC_ERROR_INVAL;
	}

	/* Disable sinking on all ports except the desired one */
	for (i = 0; i < board_get_usb_pd_port_count(); i++) {
		if (i == port)
			continue;

		if (sm5803_vbus_sink_enable(i, 0))
			/*
			 * Do not early-return because this can fail during
			 * power-on which would put us into a loop.
			 */
			LOG_WRN("p%d: sink path disable failed.", i);
	}

	/* Don't enable anything (stop here) if no ports were requested */
	if ((port == CHARGE_PORT_NONE) || (old_port == port))
		return EC_SUCCESS;

	/*
	 * Stop the charger IC from switching while changing ports.  Otherwise,
	 * we can overcurrent the adapter we're switching to. (crbug.com/926056)
	 */
	if (old_port != CHARGE_PORT_NONE)
		charger_discharge_on_ac(1);

	/* Enable requested charge port. */
	rv = sm5803_vbus_sink_enable(port, 1);
	if (rv)
		LOG_WRN("p%d: sink path enable failed: code %d", port, rv);

	/* Allow the charger IC to begin/continue switching. */
	charger_discharge_on_ac(0);

	return rv;
}

uint16_t tcpc_get_alert_status(void)
{
	/*
	 * TCPC 0 is embedded in the EC and processes interrupts in the chip
	 * code (it83xx/intc.c). This function only needs to poll port C1 if
	 * present.
	 */
	uint16_t status = 0;
	int regval;

	/* Is the C1 port present and its IRQ line asserted? */
	if (board_get_usb_pd_port_count() == 2 &&
	    !gpio_pin_get_dt(GPIO_DT_FROM_ALIAS(gpio_usb_c1_int_odl))) {
		/*
		 * C1 IRQ is shared between BC1.2 and TCPC; poll TCPC to see if
		 * it asserted the IRQ.
		 */
		if (!tcpc_read16(1, TCPC_REG_ALERT, &regval)) {
			if (regval)
				status = PD_STATUS_TCPC_ALERT_1;
		}
	}

	return status;
}

void pd_power_supply_reset(int port)
{
	int prev_en;

	if (port < 0 || port >= board_get_usb_pd_port_count())
		return;

	prev_en = charger_is_sourcing_otg_power(port);

	/* Disable Vbus */
	charger_enable_otg_power(port, 0);

	/* Discharge Vbus if previously enabled */
	if (prev_en)
		sm5803_set_vbus_disch(port, 1);

	/* Notify host of power info change. */
	pd_send_host_event(PD_EVENT_POWER_CHANGE);
}

int pd_set_power_supply_ready(int port)
{
	enum ec_error_list rv;

	if (port < 0 || port > board_get_usb_pd_port_count()) {
		LOG_WRN("Port C%d does not exist, cannot enable VBUS", port);
		return EC_ERROR_INVAL;
	}

	/* Disable sinking */
	rv = sm5803_vbus_sink_enable(port, 0);
	if (rv) {
		LOG_WRN("C%d failed to disable sinking: %d", port, rv);
		return rv;
	}

	/* Disable Vbus discharge */
	rv = sm5803_set_vbus_disch(port, 0);
	if (rv) {
		LOG_WRN("C%d failed to clear VBUS discharge: %d", port, rv);
		return rv;
	}

	/* Provide Vbus */
	rv = charger_enable_otg_power(port, 1);
	if (rv) {
		LOG_WRN("C%d failed to enable VBUS sourcing: %d", port, rv);
		return rv;
	}

	/* Notify host of power info change. */
	pd_send_host_event(PD_EVENT_POWER_CHANGE);

	return EC_SUCCESS;
}

__override void typec_set_source_current_limit(int port, enum tcpc_rp_value rp)
{
	int rv;
	const int current = rp == TYPEC_RP_3A0 ? 3000 : 1500;

	rv = charger_set_otg_current_voltage(port, current, 5000);
	if (rv != EC_SUCCESS) {
		LOG_WRN("Failed to set source ilimit on port %d to %d: %d",
			port, current, rv);
	}
}

void board_reset_pd_mcu(void)
{
	/*
	 * Do nothing. The integrated TCPC for C0 lacks a dedicated reset
	 * command, and C1 (if present) doesn't have a reset pin connected
	 * to the EC.
	 */
}

#define INT_RECHECK_US 5000

/* C0 interrupt line shared by BC 1.2 and charger */

static void check_c0_line(void);
DECLARE_DEFERRED(check_c0_line);

static void notify_c0_chips(void)
{
	usb_charger_task_set_event(0, USB_CHG_EVENT_BC12);
	sm5803_interrupt(0);
}

static void check_c0_line(void)
{
	/*
	 * If line is still being held low, see if there's more to process from
	 * one of the chips
	 */
	if (!gpio_pin_get_dt(GPIO_DT_FROM_NODELABEL(gpio_usb_c0_int_odl))) {
		notify_c0_chips();
		hook_call_deferred(&check_c0_line_data, INT_RECHECK_US);
	}
}

void usb_c0_interrupt(enum gpio_signal s)
{
	/* Cancel any previous calls to check the interrupt line */
	hook_call_deferred(&check_c0_line_data, -1);

	/* Notify all chips using this line that an interrupt came in */
	notify_c0_chips();

	/* Check the line again in 5ms */
	hook_call_deferred(&check_c0_line_data, INT_RECHECK_US);
}

/* C1 interrupt line shared by BC 1.2, TCPC, and charger */
static void check_c1_line(void);
DECLARE_DEFERRED(check_c1_line);

static void notify_c1_chips(void)
{
	schedule_deferred_pd_interrupt(1);
	usb_charger_task_set_event(1, USB_CHG_EVENT_BC12);
	/* Charger is handled in board_process_pd_alert */
}

static void check_c1_line(void)
{
	/*
	 * If line is still being held low, see if there's more to process from
	 * one of the chips.
	 */
	if (!gpio_pin_get_dt(GPIO_DT_FROM_ALIAS(gpio_usb_c1_int_odl))) {
		notify_c1_chips();
		hook_call_deferred(&check_c1_line_data, INT_RECHECK_US);
	}
}

void usb_c1_interrupt(enum gpio_signal s)
{
	/* Cancel any previous calls to check the interrupt line */
	hook_call_deferred(&check_c1_line_data, -1);

	/* Notify all chips using this line that an interrupt came in */
	notify_c1_chips();

	/* Check the line again in 5ms */
	hook_call_deferred(&check_c1_line_data, INT_RECHECK_US);
}

/*
 * Check state of IRQ lines at startup, ensuring an IRQ that happened before
 * the EC started up won't get lost (leaving the IRQ line asserted and blocking
 * any further interrupts on the port).
 *
 * Although the PD task will check for pending TCPC interrupts on startup,
 * the charger sharing the IRQ will not be polled automatically.
 */
void board_handle_initial_typec_irq(void)
{
	check_c0_line();
	if (board_get_usb_pd_port_count() == 2)
		check_c1_line();
}
/*
 * This must run after sub-board detection (which happens in EC main()),
 * but isn't depended on by anything else either.
 */
DECLARE_HOOK(HOOK_INIT, board_handle_initial_typec_irq, HOOK_PRIO_LAST);

/*
 * Handle charger interrupts in the PD task. Not doing so can lead to a priority
 * inversion where we fail to respond to TCPC alerts quickly enough because we
 * don't get another edge on a shared IRQ until the charger interrupt is cleared
 * (or the IRQ is polled again), which happens in the low-priority charger task:
 * the high-priority type-C handler is thus blocked on the lower-priority
 * charger.
 *
 * To avoid that, we run charger interrupts at the same priority.
 */
void board_process_pd_alert(int port)
{
	/*
	 * Port 0 doesn't use an external TCPC, so its interrupts don't need
	 * this special handling.
	 */
	if (port == 1 &&
	    !gpio_pin_get_dt(GPIO_DT_FROM_ALIAS(gpio_usb_c1_int_odl))) {
		sm5803_handle_interrupt(port);
	}
}

int pd_snk_is_vbus_provided(int port)
{
	int chg_det = 0;

	sm5803_get_chg_det(port, &chg_det);

	return chg_det;
}
```
